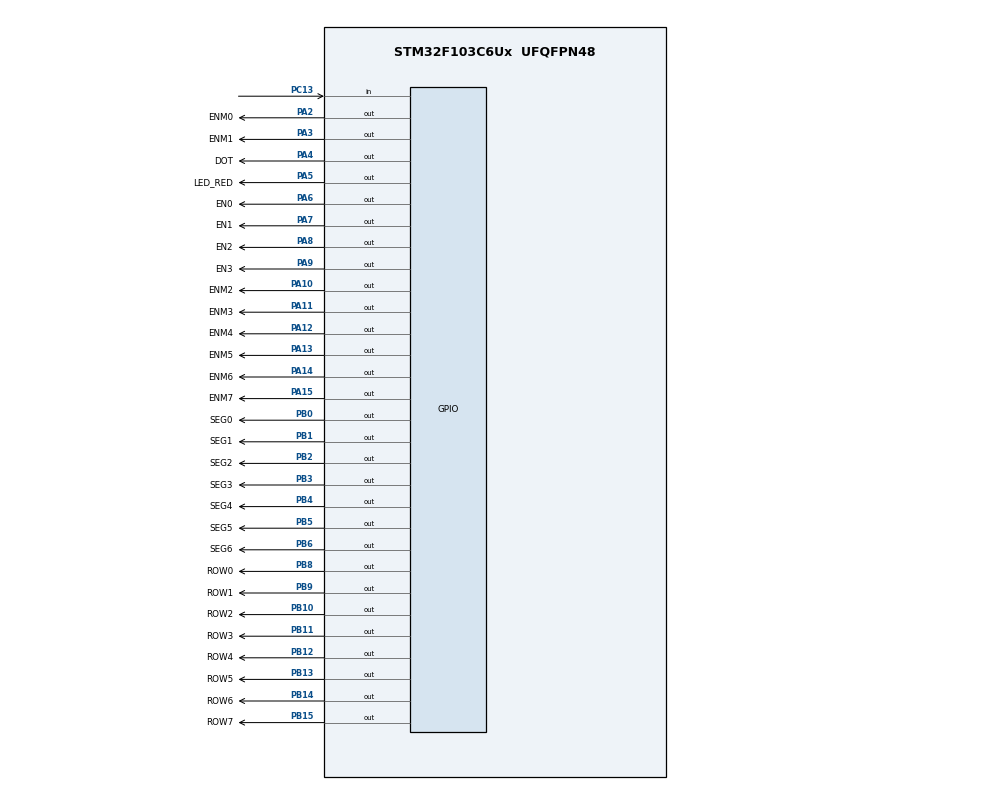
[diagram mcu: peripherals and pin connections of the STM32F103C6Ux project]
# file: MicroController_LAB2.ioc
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Mcu.Family=STM32F1
Mcu.Name=STM32F103C6Ux
Mcu.Package=UFQFPN48
NVIC.PriorityGroup=NVIC_PRIORITYGROUP_4
NVIC.TIM2_IRQn=true\:0\:0\:false\:false\:true\:true\:true
PA10.GPIO_Label=ENM2
PA10.Signal=GPIO_Output
PA11.GPIO_Label=ENM3
PA11.Signal=GPIO_Output
PA12.GPIO_Label=ENM4
PA12.Signal=GPIO_Output
PA13.GPIO_Label=ENM5
PA13.Signal=GPIO_Output
PA14.GPIO_Label=ENM6
PA14.Signal=GPIO_Output
PA15.GPIO_Label=ENM7
PA15.Signal=GPIO_Output
PA2.GPIO_Label=ENM0
PA2.Signal=GPIO_Output
PA3.GPIO_Label=ENM1
PA3.Signal=GPIO_Output
PA4.GPIO_Label=DOT
PA4.Signal=GPIO_Output
PA5.GPIO_Label=LED_RED
PA5.Signal=GPIO_Output
PA6.GPIO_Label=EN0
PA6.Signal=GPIO_Output
PA7.GPIO_Label=EN1
PA7.Signal=GPIO_Output
PA8.GPIO_Label=EN2
PA8.Signal=GPIO_Output
PA9.GPIO_Label=EN3
PA9.Signal=GPIO_Output
PB0.GPIO_Label=SEG0
PB0.Signal=GPIO_Output
PB1.GPIO_Label=SEG1
PB1.Signal=GPIO_Output
PB10.GPIO_Label=ROW2
PB10.Signal=GPIO_Output
PB11.GPIO_Label=ROW3
PB11.Signal=GPIO_Output
PB12.GPIO_Label=ROW4
PB12.Signal=GPIO_Output
PB13.GPIO_Label=ROW5
PB13.Signal=GPIO_Output
PB14.GPIO_Label=ROW6
PB14.Signal=GPIO_Output
PB15.GPIO_Label=ROW7
PB15.Signal=GPIO_Output
PB2.GPIO_Label=SEG2
PB2.Signal=GPIO_Output
PB3.GPIO_Label=SEG3
PB3.Signal=GPIO_Output
PB4.GPIO_Label=SEG4
PB4.Signal=GPIO_Output
PB5.GPIO_Label=SEG5
PB5.Signal=GPIO_Output
PB6.GPIO_Label=SEG6
PB6.Signal=GPIO_Output
PB8.GPIO_Label=ROW0
PB8.Signal=GPIO_Output
PB9.GPIO_Label=ROW1
PB9.Signal=GPIO_Output
PC13-TAMPER-RTC.GPIO_PuPd=GPIO_PULLUP
PC13-TAMPER-RTC.Signal=GPIO_Input
ProjectManager.HeapSize=0x200
ProjectManager.StackSize=0x400
ProjectManager.TargetToolchain=STM32CubeIDE
RCC.APB1Freq_Value=8000000
RCC.APB2Freq_Value=8000000
TIM2.Period=9
TIM2.Prescaler=7999
VP_SYS_VS_ND.Mode=No_Debug
VP_TIM2_VS_ClockSourceINT.Mode=Internal
board=custom

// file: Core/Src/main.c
/* USER CODE LAB2 BEGIN Header */
/**
  ******************************************************************************
  * @file           : main.c
  * @brief          : Main program body
  * 'by Ton That PHUC KHANH 1952777
  ******************************************************************************
  * @attention
  *
  * <h2><center>&copy; Copyright (c) 2022 STMicroelectronics.
  * All rights reserved.</center></h2>
  *
  * This software component is licensed by ST under BSD 3-Clause license,
  * the "License"; You may not use this file except in compliance with the
  * License. You may obtain a copy of the License at:
  *                        opensource.org/licenses/BSD-3-Clause
  *
  ******************************************************************************
  */
/* USER CODE END Header */
#include "main.h"
#include "lab2_software_timer.h"

TIM_HandleTypeDef htim2;

void SystemClock_Config(void);
static void MX_GPIO_Init(void);
static void MX_TIM2_Init(void);

int main(void)
{

  /* MCU Configuration--------------------------------------------------------*/

  /* Reset of all peripherals, Initializes the Flash interface and the Systick. */
  HAL_Init();

  /* Configure the system clock */
  SystemClock_Config();

  /* Initialize all configured peripherals */
  MX_GPIO_Init();
  MX_TIM2_Init();

  /* Infinite loop */
  /* USER CODE BEGIN WHILE */

  /*
   void HAL_TIM_PeriodElapsedCallback(TIM_HandleTypeDef *htim) ;
   void display7SEG(int count) ;
   HAL_GPIO_WritePin(SEG0_GPIO_Port , EN0_Pin , SET) ;
   HAL_GPIO_WritePin(SEG0_GPIO_Port , EN1_Pin , SET) ;
   HAL_GPIO_WritePin(SEG0_GPIO_Port , SEG0_Pin , SET) ;
   HAL_GPIO_WritePin(SEG1_GPIO_Port , SEG1_Pin , SET) ;
   HAL_GPIO_WritePin(SEG2_GPIO_Port , SEG2_Pin , SET) ;
   HAL_GPIO_WritePin(SEG3_GPIO_Port , SEG3_Pin , SET) ;
   HAL_GPIO_WritePin(SEG4_GPIO_Port , SEG4_Pin , SET) ;
   HAL_GPIO_WritePin(SEG5_GPIO_Port , SEG5_Pin , SET) ;
   HAL_GPIO_WritePin(SEG6_GPIO_Port , SEG6_Pin , SET) ;  */

  HAL_TIM_Base_Start_IT(&htim2) ;
   void display7SEG(int count) ;

  void HAL_TIM_PeriodElapsedCallback(TIM_HandleTypeDef *htim) ;
  void update7SEG(int index) ;
  void updateClockBuffer() ;
  HAL_GPIO_WritePin(DOT_GPIO_Port , DOT_Pin , RESET) ;
  HAL_GPIO_WritePin(EN2_GPIO_Port , EN2_Pin , SET) ;
  HAL_GPIO_WritePin(EN3_GPIO_Port , EN3_Pin , SET) ;
  HAL_GPIO_WritePin(EN1_GPIO_Port , EN1_Pin , SET) ;
  HAL_GPIO_WritePin(EN0_GPIO_Port , EN0_Pin , SET) ;

/*
    HAL_GPIO_WritePin(ENM0_GPIO_Port , ENM0_Pin , RESET) ;
    HAL_GPIO_WritePin(ENM1_GPIO_Port , ENM1_Pin , SET) ;
    HAL_GPIO_WritePin(ENM2_GPIO_Port , ENM2_Pin , RESET) ;
    HAL_GPIO_WritePin(ENM3_GPIO_Port , ENM3_Pin , RESET) ;
        HAL_GPIO_WritePin(ENM4_GPIO_Port , ENM4_Pin , RESET) ;
        HAL_GPIO_WritePin(ENM5_GPIO_Port , ENM5_Pin , RESET) ;
        HAL_GPIO_WritePin(ENM6_GPIO_Port , ENM6_Pin , RESET) ;
        HAL_GPIO_WritePin(ENM7_GPIO_Port , ENM7_Pin , RESET) ;
*/
        HAL_GPIO_WritePin(ROW0_GPIO_Port , ROW0_Pin , RESET) ; /* row reset la chay */
        HAL_GPIO_WritePin(ROW1_GPIO_Port , ROW1_Pin , SET) ;
        HAL_GPIO_WritePin(ROW2_GPIO_Port , ROW2_Pin , SET) ;
        HAL_GPIO_WritePin(ROW3_GPIO_Port , ROW3_Pin , SET) ;
                HAL_GPIO_WritePin(ROW4_GPIO_Port , ROW4_Pin , SET) ;
                HAL_GPIO_WritePin(ROW5_GPIO_Port , ROW5_Pin , SET) ;
                HAL_GPIO_WritePin(ROW6_GPIO_Port , ROW6_Pin , SET) ;
                HAL_GPIO_WritePin(ROW7_GPIO_Port , ROW7_Pin , SET) ;

  int hour = 21 , minute = 45 , second = 0 ;
  setTimer1(1000) ;
  setTimer2(200) ;
   while (1)
   {
     /* USER CODE END WHILE */

       if(timer2_flag == 1){
	                          second++ ;
	   if(second >= 7) {   second = 0 ;	 minute++ ;	  }
	   if(minute >= 60){   minute = 0 ;  hour++ ;	  }
	   if(hour >= 24)  {	 hour = 0 ;	   }

	   updateClockBuffer(hour , minute) ; setTimer2(200) ;
       }

	   if(timer1_flag == 1){
		   HAL_GPIO_WritePin(ROW0_GPIO_Port , ROW0_Pin , RESET) ;
		   HAL_GPIO_TogglePin(ENM0_GPIO_Port , ENM0_Pin ) ;

		   HAL_GPIO_TogglePin(LED_RED_GPIO_Port , LED_RED_Pin) ;
		   HAL_GPIO_TogglePin(DOT_GPIO_Port , DOT_Pin ) ;
		   setTimer1(1000) ;
	   }

   }

 }

 /**
   * @brief System Clock Configuration
   * @retval None
   */

const int MAX_LED_MATRIX = 8 ;
int index_led_matrix = 0 ;
uint8_t matrix_buffer [8] = {0x01 , 0x02 , 0x03 ,0x04 ,0x05 , 0x06 ,0x07 , 0x08 } ;

char PinControl[8] = { ROW0_Pin , ROW1_Pin , ROW2_Pin , ROW3_Pin , ROW4_Pin , ROW5_Pin , ROW6_Pin , ROW7_Pin } ;

void updateLEDmatrix(int index){

	if(index_led_matrix >= 8){ index_led_matrix = 0 ; }
	uint8_t temp = matrix_buffer[index_led_matrix] ;
	switch(index){

	case 0:
		break ;

	case 1:
		break ;

	case 2:
		break ;

	case 3:
		break ;

	case 4:
		break ;

	case 5:
		break ;

	case 6:
		break ;

	case 7:
		break ;

	default:
		break ;

	};
}

void display7SEG(int count){

 	switch(count){

 	    case 0:
 	 			HAL_GPIO_WritePin(SEG0_GPIO_Port , SEG0_Pin , RESET) ;
 	 	        HAL_GPIO_WritePin(SEG1_GPIO_Port , SEG1_Pin , RESET) ;
 	 			HAL_GPIO_WritePin(SEG2_GPIO_Port , SEG2_Pin , RESET) ;
 	 			HAL_GPIO_WritePin(SEG3_GPIO_Port , SEG3_Pin , RESET) ;
 	 		    HAL_GPIO_WritePin(SEG4_GPIO_Port , SEG4_Pin , RESET) ;
 	 	        HAL_GPIO_WritePin(SEG5_GPIO_Port , SEG5_Pin , RESET) ;
 	 		    HAL_GPIO_WritePin(SEG6_GPIO_Port , SEG6_Pin , SET) ;
 	 			break ;

 		case 1:

 			 HAL_GPIO_WritePin(SEG0_GPIO_Port , SEG0_Pin , SET) ;
 			 HAL_GPIO_WritePin(SEG1_GPIO_Port , SEG1_Pin , RESET) ;
 			 HAL_GPIO_WritePin(SEG2_GPIO_Port , SEG2_Pin , RESET) ;
 			 HAL_GPIO_WritePin(SEG3_GPIO_Port , SEG3_Pin , SET) ;
 			 HAL_GPIO_WritePin(SEG4_GPIO_Port , SEG4_Pin , SET) ;
 			 HAL_GPIO_WritePin(SEG5_GPIO_Port , SEG5_Pin , SET) ;
 			 HAL_GPIO_WritePin(SEG6_GPIO_Port , SEG6_Pin , SET) ;
 			 break ;

 		case 2:

 			HAL_GPIO_WritePin(SEG0_GPIO_Port , SEG0_Pin , RESET) ;
 	        HAL_GPIO_WritePin(SEG1_GPIO_Port , SEG1_Pin , RESET) ;
 			HAL_GPIO_WritePin(SEG2_GPIO_Port , SEG2_Pin , SET) ;
 			HAL_GPIO_WritePin(SEG3_GPIO_Port , SEG3_Pin , RESET) ;
 		    HAL_GPIO_WritePin(SEG4_GPIO_Port , SEG4_Pin , RESET) ;
 	        HAL_GPIO_WritePin(SEG5_GPIO_Port , SEG5_Pin , SET) ;
 		    HAL_GPIO_WritePin(SEG6_GPIO_Port , SEG6_Pin , RESET) ;
 			break ;

 		case 3:

 			HAL_GPIO_WritePin(SEG0_GPIO_Port , SEG0_Pin , RESET) ;
 	        HAL_GPIO_WritePin(SEG1_GPIO_Port , SEG1_Pin , RESET) ;
 			HAL_GPIO_WritePin(SEG2_GPIO_Port , SEG2_Pin , RESET) ;
     		HAL_GPIO_WritePin(SEG3_GPIO_Port , SEG3_Pin , RESET) ;
 		    HAL_GPIO_WritePin(SEG4_GPIO_Port , SEG4_Pin , SET) ;
 	        HAL_GPIO_WritePin(SEG5_GPIO_Port , SEG5_Pin , SET) ;
 	        HAL_GPIO_WritePin(SEG6_GPIO_Port , SEG6_Pin , RESET) ;
 			break ;

 		case 4:
 		 	HAL_GPIO_WritePin(SEG0_GPIO_Port , SEG0_Pin , SET) ;
 		 	HAL_GPIO_WritePin(SEG1_GPIO_Port , SEG1_Pin , RESET) ;
 		 	HAL_GPIO_WritePin(SEG2_GPIO_Port , SEG2_Pin , RESET) ;
 		 	HAL_GPIO_WritePin(SEG3_GPIO_Port , SEG3_Pin , SET) ;
 		    HAL_GPIO_WritePin(SEG4_GPIO_Port , SEG4_Pin , SET) ;
 		    HAL_GPIO_WritePin(SEG5_GPIO_Port , SEG5_Pin , RESET) ;
 		 	HAL_GPIO_WritePin(SEG6_GPIO_Port , SEG6_Pin , RESET) ;
 		    break ;

 		case 5:
 			HAL_GPIO_WritePin(SEG0_GPIO_Port , SEG0_Pin , RESET) ;
 			HAL_GPIO_WritePin(SEG1_GPIO_Port , SEG1_Pin , SET) ;
 			HAL_GPIO_WritePin(SEG2_GPIO_Port , SEG2_Pin , RESET) ;
 			HAL_GPIO_WritePin(SEG3_GPIO_Port , SEG3_Pin , RESET) ;
 		    HAL_GPIO_WritePin(SEG4_GPIO_Port , SEG4_Pin , SET) ;
 		    HAL_GPIO_WritePin(SEG5_GPIO_Port , SEG5_Pin , RESET) ;
 		    HAL_GPIO_WritePin(SEG6_GPIO_Port , SEG6_Pin , RESET) ;
 			break ;

 		case 6:
 			HAL_GPIO_WritePin(SEG0_GPIO_Port , SEG0_Pin , RESET) ;
 		    HAL_GPIO_WritePin(SEG1_GPIO_Port , SEG1_Pin , SET) ;
 		 	HAL_GPIO_WritePin(SEG2_GPIO_Port , SEG2_Pin , RESET) ;
 		 	HAL_GPIO_WritePin(SEG3_GPIO_Port , SEG3_Pin , RESET) ;
 		    HAL_GPIO_WritePin(SEG4_GPIO_Port , SEG4_Pin , RESET) ;
 		 	HAL_GPIO_WritePin(SEG5_GPIO_Port , SEG5_Pin , RESET) ;
 		 	HAL_GPIO_WritePin(SEG6_GPIO_Port , SEG6_Pin , RESET) ;
 			break;

 		case 7:
 			HAL_GPIO_WritePin(SEG0_GPIO_Port , SEG0_Pin , RESET) ;
 			HAL_GPIO_WritePin(SEG1_GPIO_Port , SEG1_Pin , RESET) ;
 			HAL_GPIO_WritePin(SEG2_GPIO_Port , SEG2_Pin , RESET) ;
 			HAL_GPIO_WritePin(SEG3_GPIO_Port , SEG3_Pin , SET) ;
 			HAL_GPIO_WritePin(SEG4_GPIO_Port , SEG4_Pin , SET) ;
 			HAL_GPIO_WritePin(SEG5_GPIO_Port , SEG5_Pin , SET) ;
 			HAL_GPIO_WritePin(SEG6_GPIO_Port , SEG6_Pin , SET) ;
 			break ;

 		case 8:
 			HAL_GPIO_WritePin(SEG0_GPIO_Port , SEG0_Pin , RESET) ;
 		 	HAL_GPIO_WritePin(SEG1_GPIO_Port , SEG1_Pin , RESET) ;
 		 	HAL_GPIO_WritePin(SEG2_GPIO_Port , SEG2_Pin , RESET) ;
 		 	HAL_GPIO_WritePin(SEG3_GPIO_Port , SEG3_Pin , RESET) ;
 		    HAL_GPIO_WritePin(SEG4_GPIO_Port , SEG4_Pin , RESET) ;
 	        HAL_GPIO_WritePin(SEG5_GPIO_Port , SEG5_Pin , RESET) ;
 		    HAL_GPIO_WritePin(SEG6_GPIO_Port , SEG6_Pin , RESET) ;
 			break ;

 		case 9:
 			HAL_GPIO_WritePin(SEG0_GPIO_Port , SEG0_Pin , RESET) ;
 			HAL_GPIO_WritePin(SEG1_GPIO_Port , SEG1_Pin , RESET) ;
 			HAL_GPIO_WritePin(SEG2_GPIO_Port , SEG2_Pin , RESET) ;
 			HAL_GPIO_WritePin(SEG3_GPIO_Port , SEG3_Pin , RESET) ;
 		    HAL_GPIO_WritePin(SEG4_GPIO_Port , SEG4_Pin , SET) ;
 		    HAL_GPIO_WritePin(SEG5_GPIO_Port , SEG5_Pin , RESET) ;
 	        HAL_GPIO_WritePin(SEG6_GPIO_Port , SEG6_Pin , RESET) ;
 			break ;

 	}

 } ;

const int MAX_LED = 4 ;
const int zero = 0 ;
int index_led= 0 ;
int led_buffer[4] = {1,2,3,4} ;

void update7SEG(int index){

	/* int temp = 0 ; */
	switch(index){

	case 0 :
		HAL_GPIO_WritePin(EN3_GPIO_Port, EN3_Pin , SET);
		HAL_GPIO_WritePin(EN0_GPIO_Port, EN0_Pin , RESET);
		/*temp = led_buffer[index] ;
        display7SEG(temp) ; */
        break;

	case 1:
		HAL_GPIO_WritePin(EN1_GPIO_Port, EN1_Pin, RESET);
		HAL_GPIO_WritePin(EN0_GPIO_Port, EN0_Pin ,SET) ;
		/*temp = led_buffer[index] ;
		display7SEG(temp) ; */
		break ;

	case 2:
		HAL_GPIO_WritePin(EN1_GPIO_Port, EN1_Pin , SET);
		HAL_GPIO_WritePin(EN2_GPIO_Port, EN2_Pin , RESET);
		/* temp = led_buffer[index] ;
		display7SEG(temp) ; */
		break ;

	case 3:
		HAL_GPIO_WritePin(EN2_GPIO_Port, EN2_Pin , SET);
		HAL_GPIO_WritePin(EN3_GPIO_Port, EN3_Pin , RESET);
		/* temp = led_buffer[index] ;
		display7SEG(temp) ; */
		break ;

	default:
		break ;
    }
}

/* int index_led= 0 ; */
void updateClockBuffer(int hour , int minute ){

	update7SEG(index_led)  ;
	if(index_led >= 4){  index_led = 0  ; }

    int temp = led_buffer[index_led] ;

    int minute_modulo = minute%10 ;
    int minute_first_digit = (minute - minute_modulo)/10 ;

    int hour_modulo = hour%10 ;
    int hour_first_digit = (hour - hour_modulo)/10 ;
	switch(temp){

	case 1:
		if(hour >= 10){    update7SEG(index_led) ;    display7SEG(hour_first_digit) ; }
		if(hour < 10){    update7SEG(index_led) ;    display7SEG(index_led) ;   }
		index_led++ ;
		break ;

	case 2:
	   if(hour >= 10){    update7SEG(index_led) ;    display7SEG(hour_modulo) ; }
	   if(hour < 10){    update7SEG(index_led) ;    display7SEG(hour) ;   }
       index_led++ ;
	   break ;

	case 3:
	   if(minute >= 10){	update7SEG(index_led) ;		display7SEG(minute_first_digit) ; }
	   if(minute < 10 ){   update7SEG(index_led) ;	   display7SEG(zero) ; }
	   index_led++ ;
	   break ;

	case 4:
		if(minute >= 10){	update7SEG(index_led) ;		display7SEG(minute_modulo) ; }
		if(minute < 10){	update7SEG(index_led) ;		display7SEG(minute) ; }
	    index_led++ ;
		break ;

	}

   }

void HAL_TIM_PeriodElapsedCallback(TIM_HandleTypeDef *htim){

	/* if(counter == 0 ){ counter = 100 ;
	HAL_GPIO_TogglePin(DOT_GPIO_Port, DOT_Pin );}
	counter-- ;  */

	timerRun1() ;
	timerRun2() ;
}

void SystemClock_Config(void)
{
  RCC_OscInitTypeDef RCC_OscInitStruct = {0};
  RCC_ClkInitTypeDef RCC_ClkInitStruct = {0};

  /** Initializes the RCC Oscillators according to the specified parameters
  * in the RCC_OscInitTypeDef structure.
  */
  RCC_OscInitStruct.OscillatorType = RCC_OSCILLATORTYPE_HSI;
  RCC_OscInitStruct.HSIState = RCC_HSI_ON;
  RCC_OscInitStruct.HSICalibrationValue = RCC_HSICALIBRATION_DEFAULT;
  RCC_OscInitStruct.PLL.PLLState = RCC_PLL_NONE;
  if (HAL_RCC_OscConfig(&RCC_OscInitStruct) != HAL_OK)
  {
    Error_Handler();
  }
  /** Initializes the CPU, AHB and APB buses clocks
  */
  RCC_ClkInitStruct.ClockType = RCC_CLOCKTYPE_HCLK|RCC_CLOCKTYPE_SYSCLK
                              |RCC_CLOCKTYPE_PCLK1|RCC_CLOCKTYPE_PCLK2;
  RCC_ClkInitStruct.SYSCLKSource = RCC_SYSCLKSOURCE_HSI;
  RCC_ClkInitStruct.AHBCLKDivider = RCC_SYSCLK_DIV1;
  RCC_ClkInitStruct.APB1CLKDivider = RCC_HCLK_DIV1;
  RCC_ClkInitStruct.APB2CLKDivider = RCC_HCLK_DIV1;

  if (HAL_RCC_ClockConfig(&RCC_ClkInitStruct, FLASH_LATENCY_0) != HAL_OK)
  {
    Error_Handler();
  }
}

static void MX_TIM2_Init(void)
{

  TIM_ClockConfigTypeDef sClockSourceConfig = {0};
  TIM_MasterConfigTypeDef sMasterConfig = {0};

  htim2.Instance = TIM2;
  htim2.Init.Prescaler = 7999;
  htim2.Init.CounterMode = TIM_COUNTERMODE_UP;
  htim2.Init.Period = 9;
  htim2.Init.ClockDivision = TIM_CLOCKDIVISION_DIV1;
  htim2.Init.AutoReloadPreload = TIM_AUTORELOAD_PRELOAD_DISABLE;
  if (HAL_TIM_Base_Init(&htim2) != HAL_OK)
  {
    Error_Handler();
  }
  sClockSourceConfig.ClockSource = TIM_CLOCKSOURCE_INTERNAL;
  if (HAL_TIM_ConfigClockSource(&htim2, &sClockSourceConfig) != HAL_OK)
  {
    Error_Handler();
  }
  sMasterConfig.MasterOutputTrigger = TIM_TRGO_RESET;
  sMasterConfig.MasterSlaveMode = TIM_MASTERSLAVEMODE_DISABLE;
  if (HAL_TIMEx_MasterConfigSynchronization(&htim2, &sMasterConfig) != HAL_OK)
  {
    Error_Handler();
  }

}

static void MX_GPIO_Init(void)
{
  GPIO_InitTypeDef GPIO_InitStruct = {0};

  /* GPIO Ports Clock Enable */
  __HAL_RCC_GPIOC_CLK_ENABLE();
  __HAL_RCC_GPIOA_CLK_ENABLE();
  __HAL_RCC_GPIOB_CLK_ENABLE();

  /*Configure GPIO pin Output Level */
  HAL_GPIO_WritePin(GPIOA, ENM0_Pin|ENM1_Pin|DOT_Pin|LED_RED_Pin
                          |EN0_Pin|EN1_Pin|EN2_Pin|EN3_Pin
                          |ENM2_Pin|ENM3_Pin|ENM4_Pin|ENM5_Pin
                          |ENM6_Pin|ENM7_Pin, GPIO_PIN_RESET);

  /*Configure GPIO pin Output Level */
  HAL_GPIO_WritePin(GPIOB, SEG0_Pin|SEG1_Pin|SEG2_Pin|ROW2_Pin
                          |ROW3_Pin|ROW4_Pin|ROW5_Pin|ROW6_Pin
                          |ROW7_Pin|SEG3_Pin|SEG4_Pin|SEG5_Pin
                          |SEG6_Pin|ROW0_Pin|ROW1_Pin, GPIO_PIN_RESET);

  /*Configure GPIO pin : PC13 */
  GPIO_InitStruct.Pin = GPIO_PIN_13;
  GPIO_InitStruct.Mode = GPIO_MODE_INPUT;
  GPIO_InitStruct.Pull = GPIO_PULLUP;
  HAL_GPIO_Init(GPIOC, &GPIO_InitStruct);

  /*Configure GPIO pins : ENM0_Pin ENM1_Pin DOT_Pin LED_RED_Pin
                           EN0_Pin EN1_Pin EN2_Pin EN3_Pin
                           ENM2_Pin ENM3_Pin ENM4_Pin ENM5_Pin
                           ENM6_Pin ENM7_Pin */
  GPIO_InitStruct.Pin = ENM0_Pin|ENM1_Pin|DOT_Pin|LED_RED_Pin
                          |EN0_Pin|EN1_Pin|EN2_Pin|EN3_Pin
                          |ENM2_Pin|ENM3_Pin|ENM4_Pin|ENM5_Pin
                          |ENM6_Pin|ENM7_Pin;
  GPIO_InitStruct.Mode = GPIO_MODE_OUTPUT_PP;
  GPIO_InitStruct.Pull = GPIO_NOPULL;
  GPIO_InitStruct.Speed = GPIO_SPEED_FREQ_LOW;
  HAL_GPIO_Init(GPIOA, &GPIO_InitStruct);

  /*Configure GPIO pins : SEG0_Pin SEG1_Pin SEG2_Pin ROW2_Pin
                           ROW3_Pin ROW4_Pin ROW5_Pin ROW6_Pin
                           ROW7_Pin SEG3_Pin SEG4_Pin SEG5_Pin
                           SEG6_Pin ROW0_Pin ROW1_Pin */
  GPIO_InitStruct.Pin = SEG0_Pin|SEG1_Pin|SEG2_Pin|ROW2_Pin
                          |ROW3_Pin|ROW4_Pin|ROW5_Pin|ROW6_Pin
                          |ROW7_Pin|SEG3_Pin|SEG4_Pin|SEG5_Pin
                          |SEG6_Pin|ROW0_Pin|ROW1_Pin;
  GPIO_InitStruct.Mode = GPIO_MODE_OUTPUT_PP;
  GPIO_InitStruct.Pull = GPIO_NOPULL;
  GPIO_InitStruct.Speed = GPIO_SPEED_FREQ_LOW;
  HAL_GPIO_Init(GPIOB, &GPIO_InitStruct);

}

void Error_Handler(void)
{
  __disable_irq();
  while (1)
  {
  }
}

/************************ (C) COPYRIGHT STMicroelectronics *****END OF FILE****/
